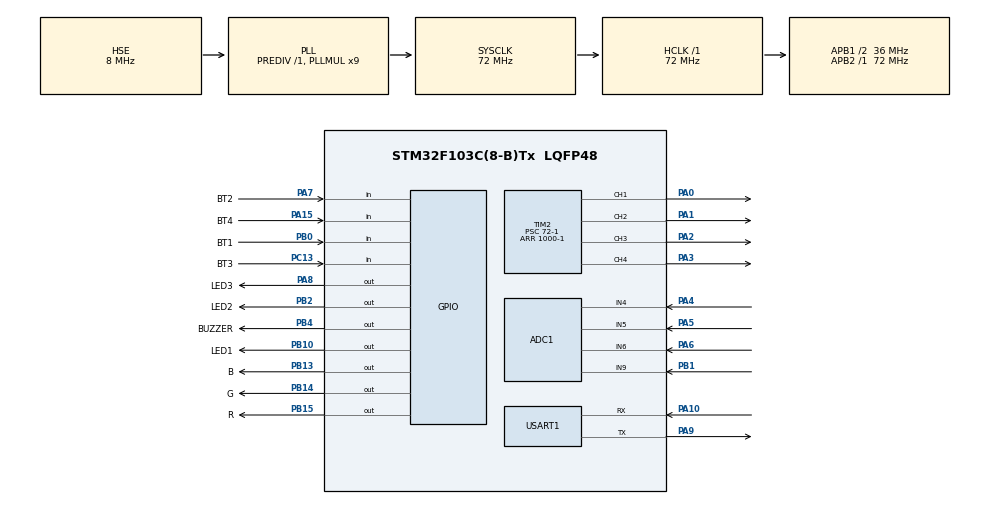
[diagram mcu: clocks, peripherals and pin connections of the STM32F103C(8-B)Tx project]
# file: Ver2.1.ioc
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ADC1.Channel-3\#ChannelRegularConversion=ADC_CHANNEL_6
ADC1.Channel-4\#ChannelRegularConversion=ADC_CHANNEL_5
ADC1.Channel-5\#ChannelRegularConversion=ADC_CHANNEL_4
ADC1.Channel-6\#ChannelRegularConversion=ADC_CHANNEL_9
ADC1.ContinuousConvMode=ENABLE
ADC1.NbrOfConversion=4
ADC1.NbrOfConversionFlag=1
ADC1.Rank-3\#ChannelRegularConversion=1
ADC1.Rank-4\#ChannelRegularConversion=2
ADC1.Rank-5\#ChannelRegularConversion=3
ADC1.Rank-6\#ChannelRegularConversion=4
ADC1.SamplingTime-3\#ChannelRegularConversion=ADC_SAMPLETIME_239CYCLES_5
ADC1.SamplingTime-4\#ChannelRegularConversion=ADC_SAMPLETIME_239CYCLES_5
ADC1.SamplingTime-5\#ChannelRegularConversion=ADC_SAMPLETIME_239CYCLES_5
ADC1.SamplingTime-6\#ChannelRegularConversion=ADC_SAMPLETIME_239CYCLES_5
ADC1.master=1
Dma.ADC1.0.Direction=DMA_PERIPH_TO_MEMORY
Dma.ADC1.0.Instance=DMA1_Channel1
Dma.ADC1.0.MemDataAlignment=DMA_MDATAALIGN_HALFWORD
Dma.ADC1.0.MemInc=DMA_MINC_ENABLE
Dma.ADC1.0.Mode=DMA_CIRCULAR
Dma.ADC1.0.PeriphDataAlignment=DMA_PDATAALIGN_HALFWORD
Dma.ADC1.0.PeriphInc=DMA_PINC_DISABLE
Dma.ADC1.0.Priority=DMA_PRIORITY_LOW
Dma.Request0=ADC1
Mcu.Family=STM32F1
Mcu.Name=STM32F103C(8-B)Tx
Mcu.Package=LQFP48
NVIC.DMA1_Channel1_IRQn=true\:0\:0\:false\:false\:true\:false\:true\:true
NVIC.PriorityGroup=NVIC_PRIORITYGROUP_4
NVIC.TIM1_UP_IRQn=true\:15\:0\:false\:false\:true\:false\:true\:true
NVIC.TIM3_IRQn=true\:0\:0\:false\:false\:true\:true\:true\:true
NVIC.TIM4_IRQn=true\:0\:0\:false\:false\:true\:true\:true\:true
NVIC.TimeBase=TIM1_UP_IRQn
NVIC.TimeBaseIP=TIM1
NVIC.USART1_IRQn=true\:0\:0\:false\:false\:true\:true\:true\:true
PA0-WKUP.Signal=S_TIM2_CH1_ETR
PA1.Signal=S_TIM2_CH2
PA10.Mode=Asynchronous
PA10.Signal=USART1_RX
PA13.Mode=Serial_Wire
PA13.Signal=SYS_JTMS-SWDIO
PA14.Mode=Serial_Wire
PA14.Signal=SYS_JTCK-SWCLK
PA15.GPIO_Label=BT4
PA15.GPIO_PuPd=GPIO_PULLUP
PA15.Signal=GPIO_Input
PA2.Signal=S_TIM2_CH3
PA3.Signal=S_TIM2_CH4
PA4.Signal=ADCx_IN4
PA5.Signal=ADCx_IN5
PA6.Signal=ADCx_IN6
PA7.GPIO_Label=BT2
PA7.GPIO_PuPd=GPIO_PULLUP
PA7.Signal=GPIO_Input
PA8.GPIO_Label=LED3
PA8.Signal=GPIO_Output
PA9.Mode=Asynchronous
PA9.Signal=USART1_TX
PB0.GPIO_Label=BT1
PB0.GPIO_PuPd=GPIO_PULLUP
PB0.Signal=GPIO_Input
PB1.Signal=ADCx_IN9
PB10.GPIO_Label=LED1
PB10.Signal=GPIO_Output
PB13.GPIO_Label=B
PB13.Signal=GPIO_Output
PB14.GPIO_Label=G
PB14.Signal=GPIO_Output
PB15.GPIO_Label=R
PB15.Signal=GPIO_Output
PB2.GPIO_Label=LED2
PB2.Signal=GPIO_Output
PB4.GPIO_Label=BUZZER
PB4.Signal=GPIO_Output
PC13-TAMPER-RTC.GPIO_Label=BT3
PC13-TAMPER-RTC.GPIO_PuPd=GPIO_PULLUP
PC13-TAMPER-RTC.Signal=GPIO_Input
PD0-OSC_IN.Mode=HSE-External-Oscillator
PD0-OSC_IN.Signal=RCC_OSC_IN
PD1-OSC_OUT.Mode=HSE-External-Oscillator
PD1-OSC_OUT.Signal=RCC_OSC_OUT
ProjectManager.HeapSize=0x200
ProjectManager.StackSize=0x400
ProjectManager.TargetToolchain=STM32CubeIDE
RCC.ADCPresc=RCC_ADCPCLK2_DIV6
RCC.AHBFreq_Value=72000000
RCC.APB1CLKDivider=RCC_HCLK_DIV2
RCC.APB1Freq_Value=36000000
RCC.APB1TimFreq_Value=72000000
RCC.APB2Freq_Value=72000000
RCC.APB2TimFreq_Value=72000000
RCC.HCLKFreq_Value=72000000
RCC.PLLMUL=RCC_PLL_MUL9
RCC.PLLSourceVirtual=RCC_PLLSOURCE_HSE
RCC.SYSCLKFreq_VALUE=72000000
RCC.SYSCLKSource=RCC_SYSCLKSOURCE_PLLCLK
RCC.USBFreq_Value=72000000
SH.ADCx_IN4.0=ADC1_IN4,IN4
SH.ADCx_IN5.0=ADC1_IN5,IN5
SH.ADCx_IN6.0=ADC1_IN6,IN6
SH.ADCx_IN9.0=ADC1_IN9,IN9
SH.S_TIM2_CH1_ETR.0=TIM2_CH1,PWM Generation1 CH1
SH.S_TIM2_CH2.0=TIM2_CH2,PWM Generation2 CH2
SH.S_TIM2_CH3.0=TIM2_CH3,PWM Generation3 CH3
SH.S_TIM2_CH4.0=TIM2_CH4,PWM Generation4 CH4
TIM2.Channel-PWM\ Generation1\ CH1=TIM_CHANNEL_1
TIM2.Channel-PWM\ Generation2\ CH2=TIM_CHANNEL_2
TIM2.Channel-PWM\ Generation3\ CH3=TIM_CHANNEL_3
TIM2.Channel-PWM\ Generation4\ CH4=TIM_CHANNEL_4
TIM2.Period=1000-1
TIM2.Prescaler=72-1
TIM3.Period=1000-1
TIM3.Prescaler=72-1
TIM4.Period=100-1
TIM4.Prescaler=72-1
USART1.VirtualMode=VM_ASYNC
VP_SYS_VS_tim1.Mode=TIM1
VP_TIM3_VS_ClockSourceINT.Mode=Internal
VP_TIM4_VS_ClockSourceINT.Mode=Internal
board=custom

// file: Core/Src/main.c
/* USER CODE BEGIN Header */
/**
  ******************************************************************************
  * @file           : main.c
  * @brief          : Main program body
  ******************************************************************************
  * @attention
  *
  * Copyright (c) 2024 STMicroelectronics.
  * All rights reserved.
  *
  * This software is licensed under terms that can be found in the LICENSE file
  * in the root directory of this software component.
  * If no LICENSE file comes with this software, it is provided AS-IS.
  *
  ******************************************************************************
  */
/* USER CODE END Header */
#include "main.h"

/* USER CODE BEGIN Includes */
#include "stdlib.h"
#include "params.h"
/* USER CODE END Includes */

ADC_HandleTypeDef hadc1;
DMA_HandleTypeDef hdma_adc1;

TIM_HandleTypeDef htim2;
TIM_HandleTypeDef htim3;
TIM_HandleTypeDef htim4;

UART_HandleTypeDef huart1;

void SystemClock_Config(void);
static void MX_GPIO_Init(void);
static void MX_DMA_Init(void);
static void MX_TIM2_Init(void);
static void MX_ADC1_Init(void);
static void MX_TIM4_Init(void);
static void MX_TIM3_Init(void);
static void MX_USART1_UART_Init(void);

/* USER CODE BEGIN 0 */
void robot_setDirection(uint8_t Dir_L, uint8_t Dir_R, uint8_t Dir_PID)
{
	Dir_Left = Dir_L;
	Dir_Right = Dir_R;
	Dir_PID = Dir_PID;
}

void robot_setParam(uint16_t speed_input, float kP_input, float kD_input)
{
	targetSpeed = speed_input;
	kP = kP_input;
	kD = kD_input;
}

void robot_setSpeed(int16_t left_speed, int16_t right_speed)
{
	if(Dir_Left)
	{
		// nếu tốc độ bên trái lớn hơn 0
			if(left_speed > 0)
			{
				__HAL_TIM_SET_COMPARE(&htim2, TIM_CHANNEL_1, 0);
				__HAL_TIM_SET_COMPARE(&htim2, TIM_CHANNEL_2, left_speed);
			}

			// nếu tốc độ bên trái nh�? hơn 0 -> quay chi�?u ngược lại
			else if(left_speed < 0)
			{
				__HAL_TIM_SET_COMPARE(&htim2, TIM_CHANNEL_1, (-1*left_speed));		// sử dụng
				__HAL_TIM_SET_COMPARE(&htim2, TIM_CHANNEL_2, 0);
			}

			// nếu tốc độ bên trái bằng 0 -> đứng yên
			else
			{
				__HAL_TIM_SET_COMPARE(&htim2, TIM_CHANNEL_1, 0);
				__HAL_TIM_SET_COMPARE(&htim2, TIM_CHANNEL_2, 0);
			}
	}
	else
	{
		// nếu tốc độ bên trái lớn hơn 0
		if(left_speed > 0)
		{
			__HAL_TIM_SET_COMPARE(&htim2, TIM_CHANNEL_1, left_speed);
			__HAL_TIM_SET_COMPARE(&htim2, TIM_CHANNEL_2, 0);
		}

		// nếu tốc độ bên trái nh�? hơn 0 -> quay chi�?u ngược lại
		else if(left_speed < 0)
		{
			__HAL_TIM_SET_COMPARE(&htim2, TIM_CHANNEL_1, 0);
			__HAL_TIM_SET_COMPARE(&htim2, TIM_CHANNEL_2, (-1*left_speed));		// sử dụng
		}

		// nếu tốc độ bên trái bằng 0 -> đứng yên
		else
		{
			__HAL_TIM_SET_COMPARE(&htim2, TIM_CHANNEL_1, 0);
			__HAL_TIM_SET_COMPARE(&htim2, TIM_CHANNEL_2, 0);
		}
	}

	if(Dir_Right)
	{
		// nếu tốc độ bên phải lớn hơn 0
		if(right_speed > 0)
		{
			__HAL_TIM_SET_COMPARE(&htim2, TIM_CHANNEL_3, 0);
			__HAL_TIM_SET_COMPARE(&htim2, TIM_CHANNEL_4, right_speed);
		}

		// nếu tốc độ bên phải nh�? hơn 0 -> quay chi�?u ngược lại
		else if(right_speed < 0)
		{
			__HAL_TIM_SET_COMPARE(&htim2, TIM_CHANNEL_3, (-1*right_speed));
			__HAL_TIM_SET_COMPARE(&htim2, TIM_CHANNEL_4, 0);
		}
		else
		{
			__HAL_TIM_SET_COMPARE(&htim2, TIM_CHANNEL_3, 0);
			__HAL_TIM_SET_COMPARE(&htim2, TIM_CHANNEL_4, 0);
		}
	}
	else
	{
		// nếu tốc độ bên phải lớn hơn 0
		if(right_speed > 0)
		{
			__HAL_TIM_SET_COMPARE(&htim2, TIM_CHANNEL_3, right_speed);
			__HAL_TIM_SET_COMPARE(&htim2, TIM_CHANNEL_4, 0);
		}

		// nếu tốc độ bên phải nh�? hơn 0 -> quay chi�?u ngược lại
		else if(right_speed < 0)
		{
			__HAL_TIM_SET_COMPARE(&htim2, TIM_CHANNEL_3, 0);
			__HAL_TIM_SET_COMPARE(&htim2, TIM_CHANNEL_4, (-1*right_speed));
		}
		else
		{
			__HAL_TIM_SET_COMPARE(&htim2, TIM_CHANNEL_3, 0);
			__HAL_TIM_SET_COMPARE(&htim2, TIM_CHANNEL_4, 0);
		}
	}
}

void robot_PIDCalib(void)
{
	if(!Dir_PID)
	{
		err = sensor_value[0] - sensor_value[2] + center_val;
	}
	else
	{
		err = sensor_value[2] - sensor_value[0] + center_val;
	}

	uP = kP * err;
	uD = kD * ((err - pre_err) / deltaT);
	pre_err = err;

	u = uP + uD;

	if(u > PID_LIMIT_TOP) u = PID_LIMIT_TOP;
	else if(u < PID_LIMIT_BOT) u = PID_LIMIT_BOT;

	left_speed = speed - ((int16_t) u);
	right_speed = speed + ((int16_t) u);
	robot_setSpeed(left_speed, right_speed);
}

uint8_t sensor_writeLED(void)
{
	uint8_t temp;
	for(uint8_t i = 0 ; i < NUM_OF_LINE_SENSOR; i++)
	{
		temp <<= MASK_001;
		if(sensor_value[i] > v_compare[i])
		{
			HAL_GPIO_WritePin(sensor_led_port[i], sensor_led_pin[i], 1);
			temp |= MASK_001;
		}
		else
		{
			HAL_GPIO_WritePin(sensor_led_port[i], sensor_led_pin[i], 0);
			temp &= MASK_110;
		}
	}
	return temp;
}

void robot_setRGB(uint8_t R, uint8_t G, uint8_t B)
{
	HAL_GPIO_WritePin(R_GPIO_Port, R_Pin, R);
	HAL_GPIO_WritePin(G_GPIO_Port, G_Pin, G);
	HAL_GPIO_WritePin(B_GPIO_Port, B_Pin, B);
}

void robot_beepLong(uint16_t millisec)
{
	HAL_GPIO_WritePin(BUZZER_GPIO_Port, BUZZER_Pin, 1);
	HAL_Delay(millisec);
	HAL_GPIO_WritePin(BUZZER_GPIO_Port, BUZZER_Pin, 0);
}

void robot_setBuzzer(uint16_t millisec, uint8_t numOfBeep)
{
	for(uint8_t i = 0; i < numOfBeep; i++)
	{
		robot_beepLong(millisec);
		HAL_Delay(millisec);
	}
}

void resetBuffer(void)
{
	for(uint8_t i = 0; i < SIZE_TX_DATA; i++)
	{
		*(tx_data + i) = 0;
	}
	for(uint8_t i = 0; i < SIZE_COMMAND; i++)
	{
		*(cmd + i) = 0;
	}
}

void prepareToSend(void)
{
	uint8_t *pByte = NULL;

	pByte = &kP_1;
	for(uint8_t i = 0; i < 4; i++)
	{
		*(tx_data + i) = pByte[i];
	}

	pByte = &kD_1;
	for(uint8_t i = 4; i < 8; i++)
	{
		*(tx_data + i) = pByte[i - 4];
	}

	pByte = &targetSpeed_1;
	for(uint8_t i = 8; i < 10; i++)
	{
		*(tx_data + i) = pByte[i - 8];
	}

	*(tx_data + 10) = accel_1;

	pByte = &kP_2;
	for(uint8_t i = 11; i < 15; i++)
	{
		*(tx_data + i) = pByte[i-11];
	}

	pByte = &kD_2;
	for(uint8_t i = 15; i < 19; i++)
	{
		*(tx_data + i) = pByte[i - 15];
	}

	pByte = &targetSpeed_2;
	for(uint8_t i = 19; i < 21; i++)
	{
		*(tx_data + i) = pByte[i - 19];
	}

	*(tx_data + 21) = accel_2;

	pByte = &calib_weight;
	for(uint8_t i = 22; i < 30; i++)
	{
		*(tx_data + i) = pByte[i - 22];
	}

	*(tx_data + 30) = Dir_Left;
	*(tx_data + 31) = Dir_Right;
	*(tx_data + 32) = Dir_PID;

	pByte = &center_val;
	for(uint8_t i = 33; i < 35; i++)
	{
		*(tx_data + i) = pByte[i - 33];
	}

	pByte = &pid_limit_top;
	for(uint8_t i = 35; i < 37; i++)
	{
		*(tx_data + i) = pByte[i - 35];
	}

	pByte = &pid_limit_bot;
	for(uint8_t i = 37; i < 39; i++)
	{
		*(tx_data + i) = pByte[i - 37];
	}

	HAL_UART_Transmit(&huart1, tx_data, 39, HAL_MAX_DELAY);
	resetBuffer();
}

void assignData(void)
{
	uint8_t *pByte = NULL;
	pByte = &kP_1;
	for(uint8_t i = 0; i < 4; i++)
	{
		pByte[i] = data[i];
	}
	pByte = &kD_1;
	for(uint8_t i = 4; i < 8; i++)
	{
		pByte[i-4] = data[i];
	}
	pByte = &targetSpeed_1;
	for(uint8_t i = 8; i < 10; i++)
	{
		pByte[i-8] = data[i];
	}
	accel_1 = data[10];

	pByte = &kP_2;
	for(uint8_t i = 11; i < 15; i++)
	{
		pByte[i-11] = data[i];
	}
	pByte = &kD_2;
	for(uint8_t i = 15; i < 19; i++)
	{
		pByte[i-15] = data[i];
	}
	pByte = &targetSpeed_2;
	for(uint8_t i = 19; i < 21; i++)
	{
		pByte[i-19] = data[i];
	}
	accel_2 = data[21];

	pByte = &calib_weight;
	for(uint8_t i = 22; i < 28; i++)
	{
		pByte[i-22] = data[i];
	}

	pByte = &gate_sensor_value;
	for(uint8_t i = 28; i < 30; i++)
	{
		pByte[i-28] = data[i];
	}

	Dir_Left = data[30];
	Dir_Right = data[31];
	Dir_PID = data[32];

	pByte = &center_val;
	for(uint8_t i = 33; i < 35; i++)
	{
		pByte[i-33] = data[i];
	}

	pByte = &pid_limit_top;
	for(uint8_t i = 35; i < 37; i++)
	{
		pByte[i-35] = data[i];
	}

	pByte = &pid_limit_bot;
	for(uint8_t i = 37; i < 39; i++)
	{
		pByte[i-37] = data[i];
	}

	resetBuffer();
}

void robot_readFlash(void)
{
	for (uint8_t i = 0; i < SIZE_DATA; i++) {
		data[i] = *(uint8_t *)(FLASH_ADDR_TARGET + i);
	}
	assignData();
}

void robot_writeFlash(void)
{
	HAL_FLASH_Unlock();

	FLASH_EraseInitTypeDef eraseInitStruct;
	uint32_t pageError;
	eraseInitStruct.TypeErase = FLASH_TYPEERASE_PAGES;
	eraseInitStruct.PageAddress = FLASH_ADDR_TARGET;
	eraseInitStruct.NbPages = 1;
	HAL_FLASHEx_Erase(&eraseInitStruct, &pageError);

	for(uint8_t i = 0; i < SIZE_DATA; i+=WORD_DISTANCE_BETWEEN)
	{
		uint32_t data_write = data[i] | (data[i + 1] << 8) | (data[i + 2] << 16) | (data[i + 3] << 24);
        HAL_FLASH_Program(FLASH_TYPEPROGRAM_WORD, FLASH_ADDR_TARGET + i, data_write);
	}
	HAL_FLASH_Lock();
}

void robot_init(void)
{
	HAL_TIM_Base_Start_IT(&htim3);
	HAL_TIM_Base_Start_IT(&htim4);

	HAL_TIM_PWM_Start(&htim2, TIM_CHANNEL_1);
	HAL_TIM_PWM_Start(&htim2, TIM_CHANNEL_2);
	HAL_TIM_PWM_Start(&htim2, TIM_CHANNEL_3);
	HAL_TIM_PWM_Start(&htim2, TIM_CHANNEL_4);

	robot_setDirection(0, 0, 0);
	robot_readFlash();

	HAL_ADC_Start_DMA(&hadc1, (uint32_t *) sensor_value, NUM_OF_ALL_SENSORS);

	robot_setRGB(1, 0, 0);
	HAL_Delay(TIMEBLINK_RGB);
	robot_setRGB(0, 1, 0);
	HAL_Delay(TIMEBLINK_RGB);
	robot_setRGB(0, 0, 1);
	HAL_Delay(TIMEBLINK_RGB);
	robot_setRGB(1, 1, 0);
	HAL_Delay(TIMEBLINK_RGB);
	robot_setRGB(0, 1, 1);
	HAL_Delay(TIMEBLINK_RGB);
	robot_setRGB(1, 0, 1);
	HAL_Delay(TIMEBLINK_RGB);
	robot_setRGB(1, 1, 1);
	HAL_Delay(TIMEBLINK_RGB_END);
  	robot_setRGB(0, 0, 0);

  	robot_setBuzzer(DEFAULT_TIME_BEEP, DEFAULT_BEEP_NUMS);

  	HAL_UART_Receive_IT(&huart1, cmd, SIZE_COMMAND);
}

void button_handle(void)
{
	button_event = (HAL_GPIO_ReadPin(BT1_GPIO_Port, BT1_Pin) << 3) |
				   (HAL_GPIO_ReadPin(BT2_GPIO_Port, BT2_Pin) << 2) |
				   (HAL_GPIO_ReadPin(BT3_GPIO_Port, BT3_Pin) << 1) |
				   (HAL_GPIO_ReadPin(BT4_GPIO_Port, BT4_Pin) << 0);

	switch(button_event)
	{
		case BT1_PRESSED:
			run_case = LEARN_AUTO;
			break;

		case BT2_PRESSED:
			run_case = LEARN_MANUAL;
			break;

		case BT3_PRESSED:
			run_case = RUN_NO_TC;
			break;

		case BT4_PRESSED:
			run_case = RUN_WITH_TC;
			break;

		case ALL_BT_UP:
			run_case = STOP;
			break;
	}
}

//void robotDetectCross(void)
//{
//	if(!isConnected)
//	{
//		if(sensor_value[3] > gate_sensor_value)
//		{
//			robot_setRGB(0, 0, 1);
//		}
//		else
//		{
//			robot_setRGB(0, 0, 0);
//		}
//	}
//}

void HAL_UART_RxCpltCallback(UART_HandleTypeDef *huart)
{
	if(huart -> Instance == USART1)
	{
		if(cmd[0] == '@' && cmd[1] == '\n')
		{
			robot_setRGB(1, 0, 1);
			HAL_UART_AbortReceive_IT(huart);
//			isConnected = 1;
			readyToSend = 1;
		}
		if(cmd[0] == '#' && cmd[1] == '\n')
		{
			robot_setRGB(0, 0, 0);
			resetBuffer();
			HAL_UART_Receive_IT(huart, cmd, SIZE_COMMAND);
//			isConnected = 0;
		}
		if(cmd[0] == '$' && cmd[1] == '\n')
		{
			robot_setRGB(0, 1, 0);
			HAL_UART_AbortReceive_IT(huart);
			HAL_UART_Receive_IT(huart, data, SIZE_DATA);
			readyToAssign = 1;
		}
		if(cmd[0] == '%' && cmd[1] == '\n')
		{
			readyToWrite = 1;
		}
	}
}
/* USER CODE END 0 */

int main(void)
{

  /* MCU Configuration--------------------------------------------------------*/

  /* Reset of all peripherals, Initializes the Flash interface and the Systick. */
	HAL_Init();

  /* Configure the system clock */
  SystemClock_Config();

  /* Initialize all configured peripherals */
  MX_GPIO_Init();
  MX_DMA_Init();
  MX_TIM2_Init();
  MX_ADC1_Init();
  MX_TIM4_Init();
  MX_TIM3_Init();
  MX_USART1_UART_Init();
  /* USER CODE BEGIN 2 */
  robot_init();
  /* USER CODE END 2 */

  /* Infinite loop */
  while (1)
  {

    /* USER CODE BEGIN 3 */
	switch(run_case)
	{
		case LEARN_AUTO:
			robot_setBuzzer(LEARN_AUTO_TIME_BEEP, DEFAULT_BEEP_NUMS);
			for(uint32_t i = 0; i < TIME_LEARN_AUTO; i++)
			{
				robot_setSpeed(SPEED_LEARN_AUTO, -SPEED_LEARN_AUTO);
				for(uint8_t j = 0; j < NUM_OF_LINE_SENSOR; j++)
				{
					if(sensor_value[j] > maxOfMin[j])
					{
						maxOfMin[j] = sensor_value[j];
					}
					if(sensor_value[j] < minOfMax[j])
					{
						minOfMax[j] = sensor_value[j];
					}
					v_compare[j] = ((minOfMax[j] + maxOfMin[j]) / 2) + calib_weight[j];
				}
			}
			robot_setSpeed(0, 0);
			run_case = STOP;
			break;
		case LEARN_MANUAL:
			robot_setBuzzer(LEARN_MANUAL_TIME_BEEP, DEFAULT_BEEP_NUMS);
			for(uint32_t i = 0; i < TIME_LEARN_AUTO; i++)
			{
				for(uint8_t j = 0; j < NUM_OF_LINE_SENSOR; j++)
				{
					if(sensor_value[j] > maxOfMin[j])
					{
						maxOfMin[j] = sensor_value[j];
					}
					if(sensor_value[j] < minOfMax[j])
					{
						minOfMax[j] = sensor_value[j];
					}
					v_compare[j] = ((minOfMax[j] + maxOfMin[j]) / 2) + calib_weight[j];
				}
			}
			run_case = STOP;
			break;
		case RUN_NO_TC:
			if((sensor_mask & MASK_4BIT) == MASK_010)
			{
				robot_beepLong(RUN_NO_TC_TIME_BEEP);
				pid_enable = 1;
			}
			run_case = STOP;
			break;
		case RUN_WITH_TC:
			run_with_sensor = 1;
			run_case = STOP;
			break;

		case STOP:
			if(readyToSend)
			{
				readyToSend = 0;
				HAL_Delay(100);
				prepareToSend();
				HAL_UART_Receive_IT(&huart1, cmd, SIZE_COMMAND);
			}
		  	if(readyToAssign)
		  	{
		  		HAL_UART_Receive_IT(&huart1, data, SIZE_DATA);
		  		HAL_Delay(TIMEOUT_RECEIVING_DATA);
		  		assignData();
		  		HAL_UART_AbortReceive_IT(&huart1);
		  		readyToAssign = 0;
			  	HAL_UART_Receive_IT(&huart1, cmd, SIZE_COMMAND);
				robot_setRGB(1, 0, 1);
		  	}
		  	if(readyToWrite)
		  	{
		  		robot_setRGB(0, 0, 1);
		  		robot_writeFlash();
		  		HAL_Delay(TIMEOUT_WRITE_FLASH);
		  		robot_setRGB(1, 0, 1);
		  		HAL_UART_Receive_IT(&huart1, cmd, SIZE_COMMAND);
		  		readyToWrite = 0;
		  	}
		  	break;
	}

  }
  /* USER CODE END 3 */
}

void SystemClock_Config(void)
{
  RCC_OscInitTypeDef RCC_OscInitStruct = {0};
  RCC_ClkInitTypeDef RCC_ClkInitStruct = {0};
  RCC_PeriphCLKInitTypeDef PeriphClkInit = {0};

  /** Initializes the RCC Oscillators according to the specified parameters
  * in the RCC_OscInitTypeDef structure.
  */
  RCC_OscInitStruct.OscillatorType = RCC_OSCILLATORTYPE_HSE;
  RCC_OscInitStruct.HSEState = RCC_HSE_ON;
  RCC_OscInitStruct.HSEPredivValue = RCC_HSE_PREDIV_DIV1;
  RCC_OscInitStruct.HSIState = RCC_HSI_ON;
  RCC_OscInitStruct.PLL.PLLState = RCC_PLL_ON;
  RCC_OscInitStruct.PLL.PLLSource = RCC_PLLSOURCE_HSE;
  RCC_OscInitStruct.PLL.PLLMUL = RCC_PLL_MUL9;
  if (HAL_RCC_OscConfig(&RCC_OscInitStruct) != HAL_OK)
  {
    Error_Handler();
  }

  /** Initializes the CPU, AHB and APB buses clocks
  */
  RCC_ClkInitStruct.ClockType = RCC_CLOCKTYPE_HCLK|RCC_CLOCKTYPE_SYSCLK
                              |RCC_CLOCKTYPE_PCLK1|RCC_CLOCKTYPE_PCLK2;
  RCC_ClkInitStruct.SYSCLKSource = RCC_SYSCLKSOURCE_PLLCLK;
  RCC_ClkInitStruct.AHBCLKDivider = RCC_SYSCLK_DIV1;
  RCC_ClkInitStruct.APB1CLKDivider = RCC_HCLK_DIV2;
  RCC_ClkInitStruct.APB2CLKDivider = RCC_HCLK_DIV1;

  if (HAL_RCC_ClockConfig(&RCC_ClkInitStruct, FLASH_LATENCY_2) != HAL_OK)
  {
    Error_Handler();
  }
  PeriphClkInit.PeriphClockSelection = RCC_PERIPHCLK_ADC;
  PeriphClkInit.AdcClockSelection = RCC_ADCPCLK2_DIV6;
  if (HAL_RCCEx_PeriphCLKConfig(&PeriphClkInit) != HAL_OK)
  {
    Error_Handler();
  }
}

static void MX_ADC1_Init(void)
{

  ADC_ChannelConfTypeDef sConfig = {0};

  /** Common config
  */
  hadc1.Instance = ADC1;
  hadc1.Init.ScanConvMode = ADC_SCAN_ENABLE;
  hadc1.Init.ContinuousConvMode = ENABLE;
  hadc1.Init.DiscontinuousConvMode = DISABLE;
  hadc1.Init.ExternalTrigConv = ADC_SOFTWARE_START;
  hadc1.Init.DataAlign = ADC_DATAALIGN_RIGHT;
  hadc1.Init.NbrOfConversion = 4;
  if (HAL_ADC_Init(&hadc1) != HAL_OK)
  {
    Error_Handler();
  }

  /** Configure Regular Channel
  */
  sConfig.Channel = ADC_CHANNEL_6;
  sConfig.Rank = ADC_REGULAR_RANK_1;
  sConfig.SamplingTime = ADC_SAMPLETIME_239CYCLES_5;
  if (HAL_ADC_ConfigChannel(&hadc1, &sConfig) != HAL_OK)
  {
    Error_Handler();
  }

  /** Configure Regular Channel
  */
  sConfig.Channel = ADC_CHANNEL_5;
  sConfig.Rank = ADC_REGULAR_RANK_2;
  if (HAL_ADC_ConfigChannel(&hadc1, &sConfig) != HAL_OK)
  {
    Error_Handler();
  }

  /** Configure Regular Channel
  */
  sConfig.Channel = ADC_CHANNEL_4;
  sConfig.Rank = ADC_REGULAR_RANK_3;
  if (HAL_ADC_ConfigChannel(&hadc1, &sConfig) != HAL_OK)
  {
    Error_Handler();
  }

  /** Configure Regular Channel
  */
  sConfig.Channel = ADC_CHANNEL_9;
  sConfig.Rank = ADC_REGULAR_RANK_4;
  if (HAL_ADC_ConfigChannel(&hadc1, &sConfig) != HAL_OK)
  {
    Error_Handler();
  }

}

static void MX_TIM2_Init(void)
{

  TIM_MasterConfigTypeDef sMasterConfig = {0};
  TIM_OC_InitTypeDef sConfigOC = {0};

  htim2.Instance = TIM2;
  htim2.Init.Prescaler = 72-1;
  htim2.Init.CounterMode = TIM_COUNTERMODE_UP;
  htim2.Init.Period = 1000-1;
  htim2.Init.ClockDivision = TIM_CLOCKDIVISION_DIV1;
  htim2.Init.AutoReloadPreload = TIM_AUTORELOAD_PRELOAD_DISABLE;
  if (HAL_TIM_PWM_Init(&htim2) != HAL_OK)
  {
    Error_Handler();
  }
  sMasterConfig.MasterOutputTrigger = TIM_TRGO_RESET;
  sMasterConfig.MasterSlaveMode = TIM_MASTERSLAVEMODE_DISABLE;
  if (HAL_TIMEx_MasterConfigSynchronization(&htim2, &sMasterConfig) != HAL_OK)
  {
    Error_Handler();
  }
  sConfigOC.OCMode = TIM_OCMODE_PWM1;
  sConfigOC.Pulse = 0;
  sConfigOC.OCPolarity = TIM_OCPOLARITY_HIGH;
  sConfigOC.OCFastMode = TIM_OCFAST_DISABLE;
  if (HAL_TIM_PWM_ConfigChannel(&htim2, &sConfigOC, TIM_CHANNEL_1) != HAL_OK)
  {
    Error_Handler();
  }
  if (HAL_TIM_PWM_ConfigChannel(&htim2, &sConfigOC, TIM_CHANNEL_2) != HAL_OK)
  {
    Error_Handler();
  }
  if (HAL_TIM_PWM_ConfigChannel(&htim2, &sConfigOC, TIM_CHANNEL_3) != HAL_OK)
  {
    Error_Handler();
  }
  if (HAL_TIM_PWM_ConfigChannel(&htim2, &sConfigOC, TIM_CHANNEL_4) != HAL_OK)
  {
    Error_Handler();
  }
  HAL_TIM_MspPostInit(&htim2);

}

static void MX_TIM3_Init(void)
{

  TIM_ClockConfigTypeDef sClockSourceConfig = {0};
  TIM_MasterConfigTypeDef sMasterConfig = {0};

  htim3.Instance = TIM3;
  htim3.Init.Prescaler = 72-1;
  htim3.Init.CounterMode = TIM_COUNTERMODE_UP;
  htim3.Init.Period = 1000-1;
  htim3.Init.ClockDivision = TIM_CLOCKDIVISION_DIV1;
  htim3.Init.AutoReloadPreload = TIM_AUTORELOAD_PRELOAD_DISABLE;
  if (HAL_TIM_Base_Init(&htim3) != HAL_OK)
  {
    Error_Handler();
  }
  sClockSourceConfig.ClockSource = TIM_CLOCKSOURCE_INTERNAL;
  if (HAL_TIM_ConfigClockSource(&htim3, &sClockSourceConfig) != HAL_OK)
  {
    Error_Handler();
  }
  sMasterConfig.MasterOutputTrigger = TIM_TRGO_RESET;
  sMasterConfig.MasterSlaveMode = TIM_MASTERSLAVEMODE_DISABLE;
  if (HAL_TIMEx_MasterConfigSynchronization(&htim3, &sMasterConfig) != HAL_OK)
  {
    Error_Handler();
  }

}

static void MX_TIM4_Init(void)
{

  TIM_ClockConfigTypeDef sClockSourceConfig = {0};
  TIM_MasterConfigTypeDef sMasterConfig = {0};

  htim4.Instance = TIM4;
  htim4.Init.Prescaler = 72-1;
  htim4.Init.CounterMode = TIM_COUNTERMODE_UP;
  htim4.Init.Period = 1000-1;
  htim4.Init.ClockDivision = TIM_CLOCKDIVISION_DIV1;
  htim4.Init.AutoReloadPreload = TIM_AUTORELOAD_PRELOAD_DISABLE;
  if (HAL_TIM_Base_Init(&htim4) != HAL_OK)
  {
    Error_Handler();
  }
  sClockSourceConfig.ClockSource = TIM_CLOCKSOURCE_INTERNAL;
  if (HAL_TIM_ConfigClockSource(&htim4, &sClockSourceConfig) != HAL_OK)
  {
    Error_Handler();
  }
  sMasterConfig.MasterOutputTrigger = TIM_TRGO_RESET;
  sMasterConfig.MasterSlaveMode = TIM_MASTERSLAVEMODE_DISABLE;
  if (HAL_TIMEx_MasterConfigSynchronization(&htim4, &sMasterConfig) != HAL_OK)
  {
    Error_Handler();
  }

}

static void MX_USART1_UART_Init(void)
{

  huart1.Instance = USART1;
  huart1.Init.BaudRate = 115200;
  huart1.Init.WordLength = UART_WORDLENGTH_8B;
  huart1.Init.StopBits = UART_STOPBITS_1;
  huart1.Init.Parity = UART_PARITY_NONE;
  huart1.Init.Mode = UART_MODE_TX_RX;
  huart1.Init.HwFlowCtl = UART_HWCONTROL_NONE;
  huart1.Init.OverSampling = UART_OVERSAMPLING_16;
  if (HAL_UART_Init(&huart1) != HAL_OK)
  {
    Error_Handler();
  }

}

static void MX_DMA_Init(void)
{

  /* DMA controller clock enable */
  __HAL_RCC_DMA1_CLK_ENABLE();

  /* DMA interrupt init */
  /* DMA1_Channel1_IRQn interrupt configuration */
  HAL_NVIC_SetPriority(DMA1_Channel1_IRQn, 0, 0);
  HAL_NVIC_EnableIRQ(DMA1_Channel1_IRQn);

}

static void MX_GPIO_Init(void)
{
  GPIO_InitTypeDef GPIO_InitStruct = {0};

  /* GPIO Ports Clock Enable */
  __HAL_RCC_GPIOC_CLK_ENABLE();
  __HAL_RCC_GPIOD_CLK_ENABLE();
  __HAL_RCC_GPIOA_CLK_ENABLE();
  __HAL_RCC_GPIOB_CLK_ENABLE();

  /*Configure GPIO pin Output Level */
  HAL_GPIO_WritePin(GPIOB, LED2_Pin|LED1_Pin|B_Pin|G_Pin
                          |R_Pin|BUZZER_Pin, GPIO_PIN_RESET);

  /*Configure GPIO pin Output Level */
  HAL_GPIO_WritePin(LED3_GPIO_Port, LED3_Pin, GPIO_PIN_RESET);

  /*Configure GPIO pin : BT3_Pin */
  GPIO_InitStruct.Pin = BT3_Pin;
  GPIO_InitStruct.Mode = GPIO_MODE_INPUT;
  GPIO_InitStruct.Pull = GPIO_PULLUP;
  HAL_GPIO_Init(BT3_GPIO_Port, &GPIO_InitStruct);

  /*Configure GPIO pins : BT2_Pin BT4_Pin */
  GPIO_InitStruct.Pin = BT2_Pin|BT4_Pin;
  GPIO_InitStruct.Mode = GPIO_MODE_INPUT;
  GPIO_InitStruct.Pull = GPIO_PULLUP;
  HAL_GPIO_Init(GPIOA, &GPIO_InitStruct);

  /*Configure GPIO pin : BT1_Pin */
  GPIO_InitStruct.Pin = BT1_Pin;
  GPIO_InitStruct.Mode = GPIO_MODE_INPUT;
  GPIO_InitStruct.Pull = GPIO_PULLUP;
  HAL_GPIO_Init(BT1_GPIO_Port, &GPIO_InitStruct);

  /*Configure GPIO pins : LED2_Pin LED1_Pin B_Pin G_Pin
                           R_Pin BUZZER_Pin */
  GPIO_InitStruct.Pin = LED2_Pin|LED1_Pin|B_Pin|G_Pin
                          |R_Pin|BUZZER_Pin;
  GPIO_InitStruct.Mode = GPIO_MODE_OUTPUT_PP;
  GPIO_InitStruct.Pull = GPIO_NOPULL;
  GPIO_InitStruct.Speed = GPIO_SPEED_FREQ_LOW;
  HAL_GPIO_Init(GPIOB, &GPIO_InitStruct);

  /*Configure GPIO pin : LED3_Pin */
  GPIO_InitStruct.Pin = LED3_Pin;
  GPIO_InitStruct.Mode = GPIO_MODE_OUTPUT_PP;
  GPIO_InitStruct.Pull = GPIO_NOPULL;
  GPIO_InitStruct.Speed = GPIO_SPEED_FREQ_LOW;
  HAL_GPIO_Init(LED3_GPIO_Port, &GPIO_InitStruct);

}

void HAL_TIM_PeriodElapsedCallback(TIM_HandleTypeDef *htim)
{
  if (htim->Instance == TIM1) {
    HAL_IncTick();
  }
  /* USER CODE BEGIN Callback 1 */
  if (htim->Instance == TIM3) {
	if(pid_enable == 1)
	{
		robot_setRGB(0, 1, 0);
		if(sensor_value[1] > v_compare[1])
		{
			robot_setParam(targetSpeed_2, kP_2, kD_2);
			if(speed < targetSpeed_2)
			{
				speed += accel_2;
			}
			robot_PIDCalib();
		}
		else
		{
			robot_setParam(targetSpeed_1, kP_1, kD_1);
		}
	}
	else
	{
		speed = 0;
		left_speed = 0;
		right_speed = 0;
		robot_setSpeed(0, 0);
	}
  }
  if (htim->Instance == TIM4) {
	button_handle();
	sensor_mask = sensor_writeLED();
//	robotDetectCross();
	if((sensor_mask & MASK_4BIT) == MASK_111)
	{
		pid_enable = 0;
		robot_setRGB(0, 0, 0);
	}
	if(run_with_sensor == 1)
	{
		if(sensor_value[3] < gate_sensor_value)
		{
			pid_enable = 1;
			run_with_sensor = 0;
		}
	}
  }
  /* USER CODE END Callback 1 */
}

void Error_Handler(void)
{
  __disable_irq();
  while (1)
  {
  }
}
